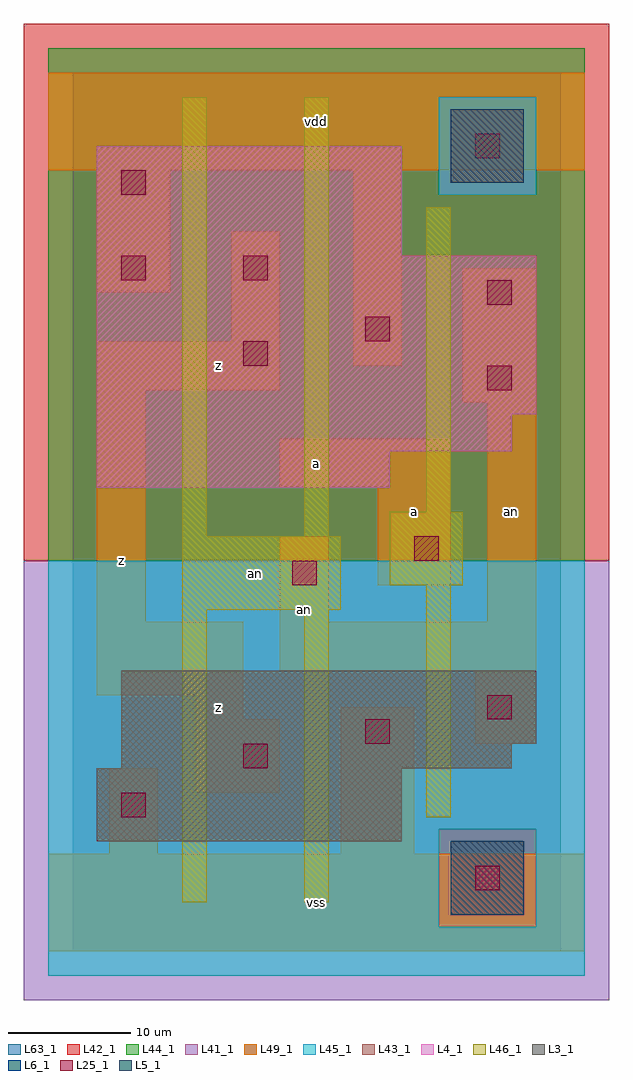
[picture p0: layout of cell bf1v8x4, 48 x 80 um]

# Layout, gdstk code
import gdstk
lib = gdstk.Library(unit=1e-6, precision=1e-09)
def R(c, l, rs):  # rectangles x0, y0, x1, y1
    for r in rs: c.add(gdstk.rectangle(r[:2], r[2:], *l))
L3_1 = (3, 1)
L4_1 = (4, 1)
L5_1 = (5, 1)
L6_1 = (6, 1)
L25_1 = (25, 1)
L41_1 = (41, 1)
L42_1 = (42, 1)
L43_1 = (43, 1)
L44_1 = (44, 1)
L45_1 = (45, 1)
L46_1 = (46, 1)
L49_1 = (49, 1)
L63_1 = (63, 1)

bf1v8x4 = lib.new_cell('bf1v8x4')
R(bf1v8x4, L3_1, [(2,9,27,15), (4,15,36,17), (4,17,38,23)])
R(bf1v8x4, L4_1, [(2,38,26,41), (2,41,36,44), (2,44,38,57), (2,57,27,66)])
R(bf1v8x4, L5_1, [(31,63,37,69)])
R(bf1v8x4, L6_1, [(31,3,37,9), (31,3,37,9)])
R(bf1v8x4, L25_1, [(33,5,35,7), (4,11,6,13), (14,15,16,17), (24,17,26,19), (34,19,36,21), (18,30,20,32), (28,32,30,34), (34,46,36,48), (14,48,16,50), (24,50,26,52), (34,53,36,55), (4,55,6,57), (14,55,16,57), (4,62,6,64), (33,65,35,67)])
R(bf1v8x4, L41_1, [(-4,-4,44,32)])
R(bf1v8x4, L42_1, [(-4,32,44,76)])
R(bf1v8x4, L43_1, [(31,3,37,9), (2,9,27,15), (4,15,36,17), (4,17,38,23), (2,38,26,41), (2,41,36,44), (2,44,38,57), (2,57,27,66), (31,63,37,69)])
R(bf1v8x4, L44_1, [(30,2,38,10), (-2,32,42,62), (-2,62,30,70), (38,62,42,70), (-2,70,42,74)])
R(bf1v8x4, L45_1, [(-2,-2,42,2), (-2,2,30,10), (38,2,42,10), (-2,10,42,32), (30,62,38,70)])
R(bf1v8x4, L46_1, [(9,4,11,28), (19,4,21,28), (29,11,31,30), (9,28,22,34), (26,30,32,36), (9,34,11,70), (19,34,21,70), (29,36,31,61)])
R(bf1v8x4, L49_1, [(-2,0,42,8), (3,8,7,15), (22,8,28,20), (10,13,17,19), (33,17,38,23), (10,19,14,21), (2,21,14,27), (17,23,38,27), (2,27,6,46), (17,27,21,34), (34,27,38,45), (25,30,31,38), (17,38,31,42), (32,45,38,56), (2,46,17,50), (23,48,27,64), (13,50,17,59), (2,54,8,64), (-2,64,42,72)])
R(bf1v8x4, L63_1, [(0,0,40,72)])
bf1v8x4.add(gdstk.Label('an', (15,31), layer=46, texttype=1))
bf1v8x4.add(gdstk.Label('z', (4,32), layer=49, texttype=1))
bf1v8x4.add(gdstk.Label('z', (12,20), layer=49, texttype=1))
bf1v8x4.add(gdstk.Label('z', (12,48), layer=49, texttype=1))
bf1v8x4.add(gdstk.Label('vss', (20,4), layer=49, texttype=1))
bf1v8x4.add(gdstk.Label('an', (19,28), layer=49, texttype=1))
bf1v8x4.add(gdstk.Label('a', (28,36), layer=49, texttype=1))
bf1v8x4.add(gdstk.Label('a', (20,40), layer=49, texttype=1))
bf1v8x4.add(gdstk.Label('vdd', (20,68), layer=49, texttype=1))
bf1v8x4.add(gdstk.Label('an', (36,36), layer=49, texttype=1))

lib.write_gds('bf1v8x4.gds')
